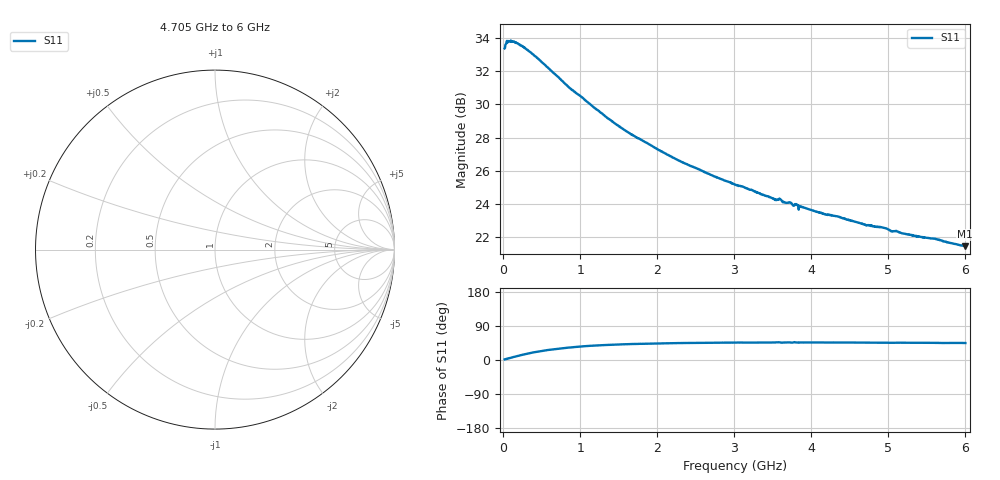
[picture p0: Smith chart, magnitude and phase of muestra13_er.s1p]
! NanoVNA-UTN-Toolkit permittivity export -- NOT S-parameters
! ES: Permitividad relativa compleja de la muestra. NO es S11: se guarda en
! ES: formato Touchstone solo para poder graficarla con visores de .s1p.
! EN: Complex relative permittivity of the sample. NOT S11: the Touchstone
! EN: format is used only so that .s1p viewers can plot it.
! Columns / Columnas: f (Hz) | eps' | eps'' (loss >= 0); eps_r = eps' - j*eps''
! Sample / Muestra: muestra13
! Technique / Tecnica: Open-ended coaxial probe (liquids)
! References / Referencias: water + ipa
! Probe / Sonda: 3 mm probe (C0 0.019 pF)
! Temperature / Temperatura: 23.0 °C
! Reliable from 45 MHz: points below are not reliable / Confiable desde 45 MHz: los puntos inferiores no son confiables
! Spike removal replaced 1 isolated S11 point(s) before solving / La remocion de picos reemplazo 1 punto(s) aislado(s) de S11
! 2 point(s) without a solution omitted / 2 punto(s) sin solucion omitidos
! Exported / Exportado: 2026-10-24T12:54:51
# Hz S RI R 50
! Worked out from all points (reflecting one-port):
!   1198 points, 15 MHz to 6 GHz, reference 50 ohm
!   lowest |S11| = 21.5 dB at 5.995 GHz (marker M1)
!   phase of S11 starts at 2 deg and turns +43 deg over the sweep
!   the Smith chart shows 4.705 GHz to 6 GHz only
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1.5e7  46.58 1.263
5e7  48.43 2.624
6e7  48.94 3.294
1.2e8  48.38 6.104
1.8e8  47.53 8.716
2.5e8  45.73 11.44
3.15e8  44.11 13.39
3.8e8  42.16 15.11
4.65e8  39.71 16.72
5.55e8  37.15 17.87
6.35e8  34.99 18.58
7.65e8  31.8 19.23
8.7e8  29.49 19.34
1.035e9  26.66 19.45
1.12e9  25.24 19.26
1.33e9  22.35 18.46
1.515e9  20.37 17.8
1.76e9  18.37 16.86
2.26e9  15.29 15.13
2.75e9  13.39 13.68
3.01e9  12.64 12.99
3.55e9  11.17 11.86
3.605e9  11.38 11.71
3.76e9  10.9 11.31
4.505e9  9.831 10.15
5.255e9  8.964 9.17
5.995e9  8.387 8.344
6e9  8.406 8.347
